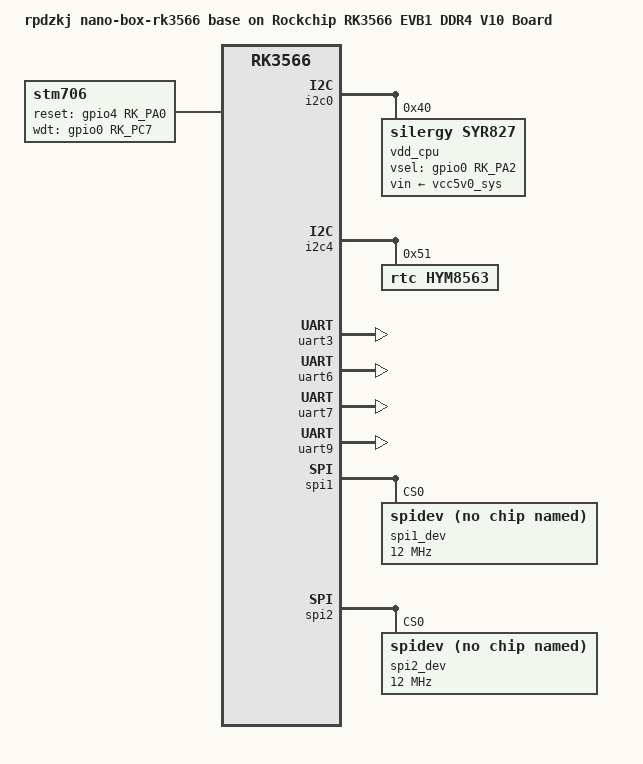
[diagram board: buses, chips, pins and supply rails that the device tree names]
// SPDX-License-Identifier: (GPL-2.0+ OR MIT)
/*
 * Copyright (c) 2020 Rockchip Electronics Co., Ltd.
 *
 */

/dts-v1/;

//rk3566-evb1-ddr4-v10
//#include "rk3566-evb1-ddr4-v10.dtsi"

#include "rk3566-evb-rpdzkj-rk809.dtsi"


#include "rk3568-linux.dtsi"
/*************************camera***********************/
#include "rp-mipi-camera-gc2093-rk3566.dtsi"
/***************************************************/


/*************************adc key***********************/
#include "rp-adc-key.dtsi"
/***************************************************/

/*************************gmac***********************/
#include "rp-gmac1-m0-pro-rk3566.dtsi"
/***************************************************/

/****************** SINGLE LCD ***************/
#include "nano-box-rk3566-single-lcd-gpio.dtsi"
/* HDMI */
//#include "rp-lcd-hdmi.dtsi"

/* MIPI0 */
//#include "rp-lcd-mipi0-5-720-1280-v2-boxTP.dtsi"
#include "rp-lcd-mipi0-7-720-1280.dtsi"
//#include "rp-lcd-mipi0-8-800-1280-v3.dtsi"
//#include "rp-lcd-mipi0-8-1200-1920.dtsi"
//#include "rp-lcd-mipi0-10-800-1280-v3.dtsi"
//#include "rp-lcd-mipi0-10-1200-1920.dtsi"

/** LVDS */
//#include "rp-lcd-lvds-10-1280-800.dtsi"
//#include "rp-lcd-lvds-7-1024-600-v2.dtsi"

/* EDP */
//#include "rp-lcd-edp-13-1920-1080.dtsi"
//#include "rp-lcd-edp-13.3-15.6-1920-1080.dtsi"










/ {
	model = "rpdzkj nano-box-rk3566 base on Rockchip RK3566 EVB1 DDR4 V10 Board";
	compatible = "rpdzkj,nano-box-rk3566", "rockchip,rk3566";

        
        rp_power{
                status = "okay";
                compatible = "rp_power";
                rp_not_deep_sleep = <1>;

//#define GPIO_FUNCTION_OUTPUT 0
//#define GPIO_FUNCTION_INPUT 1
//#define GPIO_FUNCTION_IRQ 2
//#define GPIO_FUNCTION_FLASH 3
//#define GPIO_FUNCTION_OUTPUT_CTRL 4

                pwr_5v_3v3 {	//3.3v 5v enable
                        gpio_num = <&gpio2 RK_PB3 GPIO_ACTIVE_HIGH>;
                        gpio_function = <0>;
                };
                
                led {       //system led
                        gpio_num = <&gpio3 RK_PC2 GPIO_ACTIVE_HIGH>;
                        gpio_function = <4>;
                };
                
		usb_pwr {       //usb host power and otg power
                        gpio_num = <&gpio0 RK_PA6 GPIO_ACTIVE_HIGH>;
                        gpio_function = <4>;
                };

                usb_rst {       //usb hub reset
                        gpio_num = <&gpio0 RK_PB0 GPIO_ACTIVE_HIGH>;
                        gpio_function = <4>;
                };

                spk_en {       //SPK ENABLE
                        gpio_num = <&gpio4 RK_PC4 GPIO_ACTIVE_HIGH>;
                        gpio_function = <4>;
                };

                spk_mute {       //SPK MUTE
                        gpio_num = <&gpio0 RK_PA0 GPIO_ACTIVE_LOW>;
                        gpio_function = <4>;
                };
  
              usb_mode {       //OTG SWITCH
                        gpio_num = <&gpio0 RK_PC2 GPIO_ACTIVE_LOW>;
                        gpio_function = <0>;
                };
		otg_pwr {
		       gpio_num = <&gpio0 RK_PA5 GPIO_ACTIVE_HIGH>;
                        gpio_function = <4>;
		};
};



        rp_gpio{
                status = "okay";
                compatible = "rp_gpio";

/***** SPI_FLASH ********/
                gpio1d0 {      
                        gpio_num = <&gpio1 RK_PD0 GPIO_ACTIVE_HIGH>;
                        gpio_function = <0>;
                };
                gpio1d1 {       
                        gpio_num = <&gpio1 RK_PD1 GPIO_ACTIVE_HIGH>;
                        gpio_function = <0>;
                };

                gpio1d2 {       
                        gpio_num = <&gpio1 RK_PD2 GPIO_ACTIVE_HIGH>;
                        gpio_function = <0>;
                };
                gpio1d3 {       
                        gpio_num = <&gpio1 RK_PD3 GPIO_ACTIVE_HIGH>;
                        gpio_function = <0>;
                };

                gpio1d4 {       
                        gpio_num = <&gpio1 RK_PD4 GPIO_ACTIVE_HIGH>;
                        gpio_function = <0>;
                };

/***** PDM ********/

                gpio4a0 {
                        gpio_num = <&gpio4 RK_PA0 GPIO_ACTIVE_HIGH>;
                        gpio_function = <0>;
                };

                gpio4a1 {
                        gpio_num = <&gpio4 RK_PA1 GPIO_ACTIVE_HIGH>;
                        gpio_function = <0>;
                };
                gpio4a2 {
                        gpio_num = <&gpio4 RK_PA2 GPIO_ACTIVE_HIGH>;
                        gpio_function = <0>;
                };

                gpio4a3 {
                        gpio_num = <&gpio4 RK_PA3 GPIO_ACTIVE_HIGH>;
                        gpio_function = <0>;
                };
	};	

        stm706 {
                status = "okay";
                compatible = "stm706";
                reset_gpio = <&gpio4 RK_PA0 GPIO_ACTIVE_HIGH>;
                wdt_gpio = <&gpio0 RK_PC7 GPIO_ACTIVE_HIGH>;
        };

};


&pmu_io_domains {
        status = "okay";
        pmuio2-supply = <&vcc3v3_pmu>;
        vccio1-supply = <&vccio_acodec>;
        vccio3-supply = <&vccio_sd>;
        vccio4-supply = <&vcc_3v3>;
        vccio5-supply = <&vcc_3v3>;
        vccio6-supply = <&vcc_1v8>;
        vccio7-supply = <&vcc_3v3>;
};



&i2c0 {
        status = "okay";

        vdd_cpu: syr837@40 {
                compatible = "silergy,syr827";
                reg = <0x40>;
                vin-supply = <&vcc5v0_sys>;
                regulator-compatible = "fan53555-reg";
                pinctrl-0 = <&vsel1_gpio>;
                vsel-gpios = <&gpio0 RK_PA2 GPIO_ACTIVE_HIGH>;
                regulator-name = "vdd_cpu";
                regulator-min-microvolt = <712500>;
                regulator-max-microvolt = <1390000>;
                regulator-ramp-delay = <2300>;
                fcs,suspend-voltage-selector = <1>;
                regulator-always-on;
                regulator-boot-on;
                regulator-initial-state = <3>;
                regulator-state-mem {
                        regulator-off-in-suspend;
                };
        };

/*
        vdd_cpu: tcs4525@1c {
                compatible = "tcs,tcs452x";
                reg = <0x1c>;
                vin-supply = <&vcc5v0_sys>;
                regulator-compatible = "fan53555-reg";
                regulator-name = "vdd_cpu";
                regulator-min-microvolt = <712500>;
                regulator-max-microvolt = <1390000>;
                regulator-ramp-delay = <2300>;
                fcs,suspend-voltage-selector = <1>;
                regulator-boot-on;
                regulator-always-on;
                regulator-state-mem {
                        regulator-off-in-suspend;
                };
        };
*/
};

&gmac1 {
    tx_delay = <0x42>;
    rx_delay = <0x2d>;
};


&i2c4 {
	status = "okay";
	pinctrl-names = "default";
	pinctrl-0 = <&i2c4m1_xfer>;

        rtc@51 {
                status = "okay";
                compatible = "rtc,hym8563";
                reg = <0x51>;
        };
};

&i2c5 {
	status = "disabled";
};


&uart3 {
	status = "okay";
	pinctrl-names = "default";
	pinctrl-0 = <&uart3m0_xfer>;
};

&uart6 {
        status = "okay";
        pinctrl-names = "default";
        pinctrl-0 = <&uart6m0_xfer>;
};

&uart7 {
        status = "okay";
        pinctrl-names = "default";
        pinctrl-0 = <&uart7m0_xfer>;
};

&uart9 {
        status = "okay";
        pinctrl-names = "default";
        pinctrl-0 = <&uart9m0_xfer>;
};

&spi1 {
	status = "okay";

    spi1_dev@0 {
        compatible = "rockchip,spidev";
        reg = <0>;
        spi-max-frequency = <12000000>;
        spi-lsb-first;
    };
};

&spi2 {
        status = "okay";

    spi2_dev@0 {
        compatible = "rockchip,spidev";
        reg = <0>;
        spi-max-frequency = <12000000>;
        spi-lsb-first;
    };
};


&dmc {
	status = "disabled";
};

&dfi {
	status = "disabled";
};


&pinctrl {
	pmic {
		vsel1_gpio: vsel1-gpio {
			rockchip,pins =
				<0 RK_PA2 RK_FUNC_GPIO &pcfg_pull_down>;
		};
	};
};
